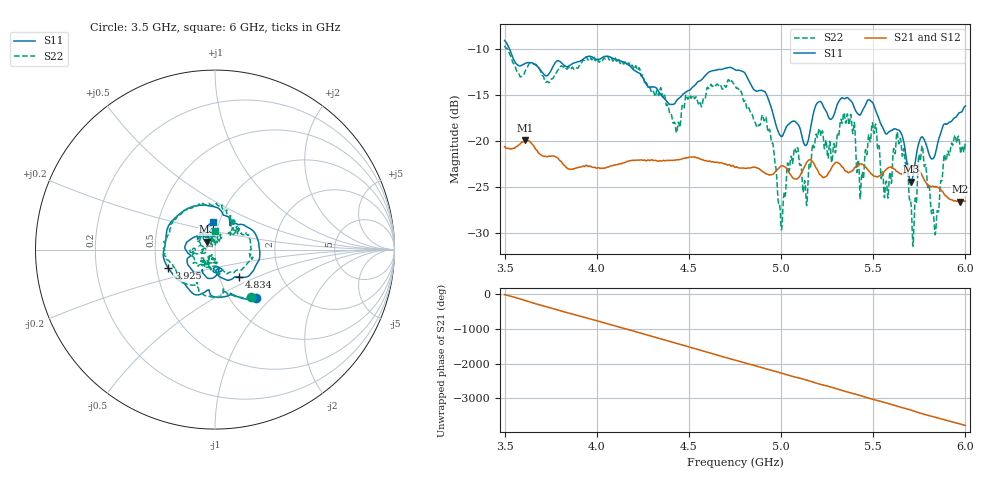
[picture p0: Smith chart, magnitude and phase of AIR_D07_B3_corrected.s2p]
! Created with skrf 1.9.0 (http://scikit-rf.org).
# Hz S RI R 50.0
!freq ReS11 ImS11 ReS21 ImS21 ReS12 ImS12 ReS22 ImS22
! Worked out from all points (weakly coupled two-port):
!   1601 points, 3.5 GHz to 6 GHz, reference 50 ohm
!   highest |S21| = -19.89 dB at 3.612 GHz (marker M1); lowest = -26.6 dB at 5.973 GHz (marker M2)
!   lowest |S11| = -24.4 dB at 5.706 GHz (marker M3), VSWR 1.13, Z = 45.8 + j3.98 ohm
!   |S11| at or under -10 dB: 3.528 GHz to end of sweep
!   |S22| runs from -31.4 to -9.6 dB; largest |S21 - S12| = 0.0013
!   S11 on the Smith chart (normalised r, x): 3.5 GHz: 1.31, -0.81; 3.925 GHz: 0.58, -0.13; 4.834 GHz: 1.24, -0.40; 6 GHz: 0.93, +0.30
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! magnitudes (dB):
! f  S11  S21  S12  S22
! 3.5 GHz  -9.0  -20.6  -20.6  -9.6
! 3.612 GHz  -11.5  -19.9  -19.9  -12.3
! 3.917 GHz  -11.2  -22.7  -22.7  -11.5
! 3.925 GHz  -11.1  -22.7  -22.7  -11.2
! 4.334 GHz  -14.5  -22.1  -22.1  -15.0
! 4.439 GHz  -15.4  -22.0  -22.0  -18.3
! 4.75 GHz  -12.2  -22.8  -22.8  -14.0
! 4.834 GHz  -13.7  -22.9  -22.9  -16.9
! 4.945 GHz  -16.2  -23.6  -23.6  -19.7
! 4.997 GHz  -19.4  -22.7  -22.7  -28.2
! 5.064 GHz  -17.8  -24.0  -24.0  -22.2
! 5.167 GHz  -17.7  -22.1  -22.1  -21.0
! 5.369 GHz  -15.4  -23.4  -23.3  -18.2
! 5.438 GHz  -16.8  -22.5  -22.5  -23.6
! 5.503 GHz  -16.1  -23.8  -23.7  -19.1
! 5.584 GHz  -19.0  -22.8  -22.8  -24.8
! 5.639 GHz  -18.8  -23.4  -23.4  -20.3
! 5.706 GHz  -24.4  -22.8  -22.8  -27.0
! 5.758 GHz  -19.6  -23.4  -23.4  -21.8
! 5.841 GHz  -21.0  -24.9  -24.9  -29.3
! 5.973 GHz  -16.8  -26.6  -26.5  -21.2
! 6 GHz  -16.1  -26.5  -26.5  -19.9
